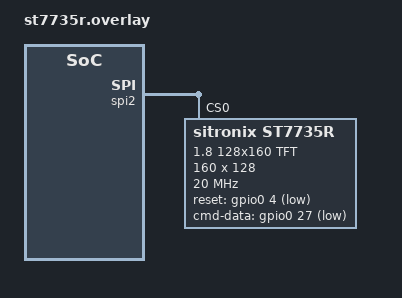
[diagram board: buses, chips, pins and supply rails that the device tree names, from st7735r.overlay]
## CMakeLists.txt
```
# SPDX-License-Identifier: MIT

cmake_minimum_required(VERSION 3.20.0)

find_package(Zephyr REQUIRED HINTS $ENV{ZEPHYR_BASE})
project(home_mesh)

FILE(GLOB app_sources 
  src/main.c
  src/bt_le.c
  src/setting.c
  src/sys_handler.c)

target_sources(app PRIVATE ${app_sources})
```

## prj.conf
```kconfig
CONFIG_SYSTEM_WORKQUEUE_STACK_SIZE=1024

# bt
CONFIG_BT=y
CONFIG_BT_SMP=y
CONFIG_BT_SIGNING=y
CONFIG_BT_PERIPHERAL=y


# logging
CONFIG_LOG=y
#CONFIG_LOG_MODE_MINIMAL=y
CONFIG_LOG_DEFAULT_LEVEL=4

CONFIG_BT_DEBUG_LOG=y
```

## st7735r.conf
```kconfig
# display
CONFIG_DISPLAY=y
CONFIG_SPI=y
CONFIG_ST7735R=y
```

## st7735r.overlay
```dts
/*
 * SPDX-License-Identifier: MIT
 */

/ {
  chosen {
    zephyr,display = &st7735r;
  };
};

&spi2 {
	status = "okay";

	st7735r: st7735r@0 {
		compatible = "sitronix,st7735r";
		label = "1.8 128x160 TFT";
		spi-max-frequency = <20000000>;
		reg = <0>;
		reset-gpios = <&gpio0 4 GPIO_ACTIVE_LOW>;
		cmd-data-gpios = <&gpio0 27 GPIO_ACTIVE_LOW>;
		width = <160>;
		height = <128>;
		x-offset = <0>;
		y-offset = <0>;
		madctl = <0x60>;
		colmod = <0x55>;
		vmctr1 = <0x0e>;
		pwctr1 = [a2 02 84];
		pwctr2 = [c5];
		pwctr3 = [0a 00];
		pwctr4 = [8a 2a];
		pwctr5 = [8a ee];
		frmctr1 = [01 2c 2d];
		frmctr2 = [01 2c 2d];
		frmctr3 = [01 2c 2d 01 2c 2d];		
		gamctrp1 = [02 1c 07 12 37 32 29 2d 29 25 2b 39 00 01 03 10];
		gamctrn1 = [03 1d 07 06 2e 2c 29 2d 2e 2e 37 3f 00 00 02 10];
	};
};
```

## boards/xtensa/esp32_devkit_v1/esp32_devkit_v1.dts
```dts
/*
 * Copyright (c) 2019 Intel Corporation.
 *
 * SPDX-License-Identifier: Apache-2.0
 */
/dts-v1/;

#include <espressif/esp32.dtsi>

/ {
	model = "esp32_devkit_v1";
	compatible = "espressif,esp32";

	aliases {
		led0 = &blue_led;
		uart-0 = &uart0;
		i2c-0 = &i2c0;
	};

	chosen {
		zephyr,sram = &sram0;
		zephyr,console = &uart0;
		zephyr,shell-uart = &uart0;
		zephyr,flash = &flash0;
	};

	leds {
		compatible = "gpio-leds";

		blue_led: led_0 {
			gpios = <&gpio0 2 GPIO_ACTIVE_HIGH>;
			label = "Blue - LED0";
		};
	};
};

&cpu0 {
	clock-frequency = <ESP32_CLK_CPU_240M>;
};

&cpu1 {
	clock-frequency = <ESP32_CLK_CPU_240M>;
};

&uart0 {
	status = "okay";
	current-speed = <115200>;
	tx-pin = <1>;
	rx-pin = <3>;
};

&uart2 {
	current-speed = <115200>;
	tx-pin = <17>;
	rx-pin = <16>;
};

&gpio0 {
	status = "okay";
};

&gpio1 {
	status = "okay";
};

&i2c0 {
	status = "okay";
	clock-frequency = <I2C_BITRATE_STANDARD>;
	sda-pin = <21>;
	scl-pin = <22>;
};

&spi2 {
	#address-cells = <1>;
	#size-cells = <0>;
	miso-pin = <12>;
	mosi-pin = <13>;
	sclk-pin = <14>;
	csel-pin = <15>;
};

&spi3 {
	#address-cells = <1>;
	#size-cells = <0>;
	miso-pin = <19>;
	mosi-pin = <23>;
	sclk-pin = <18>;
	csel-pin = <5>;
};

&timer0 {
	status = "okay";
};

&timer1 {
	status = "okay";
};

&timer2 {
	status = "okay";
};

&timer3 {
	status = "okay";
};

&trng0 {
	status = "okay";
};

&flash0 {
	status = "okay";
	partitions {
		compatible = "fixed-partitions";
		#address-cells = <1>;
		#size-cells = <1>;

		/* Reserve 60kB for the bootloader */
		boot_partition: partition@1000 {
			label = "mcuboot";
			reg = <0x00001000 0x0000F000>;
			read-only;
		};

		/* Reserve 1024kB for the application in slot 0 */
		slot0_partition: partition@10000 {
			label = "image-0";
			reg = <0x00010000 0x00100000>;
		};

		/* Reserve 1024kB for the application in slot 1 */
		slot1_partition: partition@110000 {
			label = "image-1";
			reg = <0x00110000 0x00100000>;
		};

		/* Reserve 256kB for the scratch partition */
		scratch_partition: partition@210000 {
			   label = "image-scratch";
			   reg = <0x00210000 0x00040000>;
		};

		storage_partition: partition@250000 {
			label = "storage";
			reg = <0x00250000 0x00006000>;
		};
	};
};
```

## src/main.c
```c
/*
 * SPDX-Licence-Identifier: MIT
 */

#include <zephyr.h>
#include <sys/printk.h>
#include <drivers/gpio.h>

#include <logging/log.h>
LOG_MODULE_REGISTER(home_mesh, CONFIG_LOG_DEFAULT_LEVEL);


#include "sys_handler.h"
#include "bt_le.h"
#include "display_test.h"


void main(void) {
  LOG_DBG("Home Mesh");


  le_init();


  while (1) {
    sys_evt_handler();
    k_yield();
  }
}
```

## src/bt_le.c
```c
/*
 * SPDX-Licence-Identifier: MIT
 */

#include "bt_le.h"

#include <zephyr.h>

#include <bluetooth/bluetooth.h>
#include <bluetooth/hci.h>
#include <bluetooth/conn.h>
#include <bluetooth/uuid.h>
#include <bluetooth/gatt.h>

#include <logging/log.h>
LOG_MODULE_DECLARE(home_mesh, CONFIG_LOG_DEFAULT_LEVEL);

static ssize_t write_char2(struct bt_conn* conn, const struct bt_gatt_attr* attr, const void* buf, uint16_t len, uint16_t offset, uint8_t flags);
static void char1_ccc_cfg_changed(const struct bt_gatt_attr* attr, uint16_t value); 

#define BT_UUID_HOME_MESH_SERVICE BT_UUID_128_ENCODE(0xf34ed76c, 0xcff0, 0x4c8a, 0xa845, 0xc1d42efd0456)

static struct bt_uuid_128 home_mesh_service_uuid = BT_UUID_INIT_128(BT_UUID_HOME_MESH_SERVICE);
static struct bt_uuid_128 home_mesh_char1_uuid = BT_UUID_INIT_128(
  BT_UUID_128_ENCODE(0xd9c3001, 0x9c01, 0x5f73, 0x7061, 0x63656e6f726d));
static struct bt_uuid_128 home_mesh_char2_uuid = BT_UUID_INIT_128(
  BT_UUID_128_ENCODE(0xd9c3002, 0x9c01, 0x5f73, 0x7061, 0x63656e6f726d));

static uint8_t notify_data[128];
static uint8_t write_data[128];
static uint8_t notify;


BT_GATT_SERVICE_DEFINE(home_svc,
  BT_GATT_PRIMARY_SERVICE(&home_mesh_service_uuid),
  BT_GATT_CHARACTERISTIC(&home_mesh_char1_uuid.uuid,
    BT_GATT_CHRC_NOTIFY,
    BT_GATT_PERM_NONE,
    NULL, NULL, notify_data),
  BT_GATT_CCC(char1_ccc_cfg_changed, BT_GATT_PERM_READ | BT_GATT_PERM_WRITE),
  BT_GATT_CHARACTERISTIC(&home_mesh_char2_uuid.uuid,
    BT_GATT_CHRC_WRITE,
    BT_GATT_PERM_WRITE_ENCRYPT,
    NULL, write_char2, &write_data)
);

static const struct bt_data home_mesh_service_adv[] = {
  BT_DATA_BYTES(BT_DATA_FLAGS, (BT_LE_AD_GENERAL | BT_LE_AD_NO_BREDR)),
  BT_DATA_BYTES(BT_DATA_UUID128_ALL, BT_UUID_HOME_MESH_SERVICE),
};

static ssize_t write_char2(struct bt_conn* conn, const struct bt_gatt_attr* attr, const void* buf, uint16_t len, uint16_t offset, uint8_t flags) {
  LOG_DBG("");

  uint8_t *value = attr->user_data;

  if (offset + len > sizeof(write_data)) {
    return BT_GATT_ERR(BT_ATT_ERR_INVALID_OFFSET);
  }

  memcpy(value + offset, buf, len);
  value[offset + len] = 0;

  return len;
}

static void char1_ccc_cfg_changed(const struct bt_gatt_attr* attr, uint16_t value) {
  LOG_DBG("");
  notify = (value == BT_GATT_CCC_INDICATE) ? 1 : 0;
}

static void le_connected(struct bt_conn* conn, uint8_t err) {
  char addr[BT_ADDR_LE_STR_LEN];

  bt_addr_le_to_str(bt_conn_get_dst(conn), addr, sizeof(addr));

  if (err){
    LOG_DBG("Failed to connect to %s (%u)", addr, err);
  }
  else {
    LOG_DBG("Connected %s", addr);
  }
}

static void le_disconnected(struct bt_conn* conn, uint8_t reason) {
  char addr[BT_ADDR_LE_STR_LEN];

	bt_addr_le_to_str(bt_conn_get_dst(conn), addr, sizeof(addr));

  LOG_DBG("Disconnected from %s (reason 0x%02x)", addr, reason);
}

BT_CONN_CB_DEFINE(conn_callbacks) = {
  .connected = le_connected,
  .disconnected = le_disconnected,
};

int le_init(void) {
  LOG_DBG("Bluetooth initialized");

  int err = bt_enable(NULL);
  if (err) {
    return err;
  }

  err = bt_le_adv_start(BT_LE_ADV_CONN_NAME, home_mesh_service_adv, ARRAY_SIZE(home_mesh_service_adv), NULL, 0);
  if (err) {
    LOG_ERR("Advertising failed to start (err %d)", err);
    return err;
  }

  return 0;
}
```

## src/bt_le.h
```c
/*
 * SPDX-Licence-Identifier: MIT
 */

#ifndef __BT_LE_H__
#define __BT_LE_H__

#ifdef __cplusplus
extern "C" {
#endif

int le_init(void);

#ifdef __cplusplus
}
#endif

#endif  // __BT_LE_H__
```

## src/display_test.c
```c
/*
 * SPDX-License-Identifier: MIT
 */

#include "display_test.h"

#include <zephyr.h>
#include <device.h>
#include <drivers/display.h>

#include <logging/log.h>
LOG_MODULE_DECLARE(home_mesh, CONFIG_LOG_DEFAULT_LEVEL);


enum corner {
	TOP_LEFT,
	TOP_RIGHT,
	BOTTOM_RIGHT,
	BOTTOM_LEFT
};

typedef void (*fill_buffer)(enum corner corner, uint8_t grey, uint8_t *buf,
			    size_t buf_size);


static void fill_buffer_argb8888(enum corner corner, uint8_t grey, uint8_t *buf,
				 size_t buf_size)
{
	uint32_t color = 0;

	switch (corner) {
	case TOP_LEFT:
		color = 0x00FF0000u;
		break;
	case TOP_RIGHT:
		color = 0x0000FF00u;
		break;
	case BOTTOM_RIGHT:
		color = 0x000000FFu;
		break;
	case BOTTOM_LEFT:
		color = grey << 16 | grey << 8 | grey;
		break;
	}

	for (size_t idx = 0; idx < buf_size; idx += 4) {
		*((uint32_t *)(buf + idx)) = color;
	}
}

static void fill_buffer_rgb888(enum corner corner, uint8_t grey, uint8_t *buf,
			       size_t buf_size)
{
	uint32_t color = 0;

	switch (corner) {
	case TOP_LEFT:
		color = 0x00FF0000u;
		break;
	case TOP_RIGHT:
		color = 0x0000FF00u;
		break;
	case BOTTOM_RIGHT:
		color = 0x000000FFu;
		break;
	case BOTTOM_LEFT:
		color = grey << 16 | grey << 8 | grey;
		break;
	}

	for (size_t idx = 0; idx < buf_size; idx += 3) {
		*(buf + idx + 0) = color >> 16;
		*(buf + idx + 1) = color >> 8;
		*(buf + idx + 2) = color >> 0;
	}
}

static uint16_t get_rgb565_color(enum corner corner, uint8_t grey)
{
	uint16_t color = 0;
	uint16_t grey_5bit;

	switch (corner) {
	case TOP_LEFT:
		color = 0xF800u;
		break;
	case TOP_RIGHT:
		color = 0x07E0u;
		break;
	case BOTTOM_RIGHT:
		color = 0x001Fu;
		break;
	case BOTTOM_LEFT:
		grey_5bit = grey & 0x1Fu;
		/* shift the green an extra bit, it has 6 bits */
		color = grey_5bit << 11 | grey_5bit << (5 + 1) | grey_5bit;
		break;
	}
	return color;
}

static void fill_buffer_rgb565(enum corner corner, uint8_t grey, uint8_t *buf,
			       size_t buf_size)
{
	uint16_t color = get_rgb565_color(corner, grey);

	for (size_t idx = 0; idx < buf_size; idx += 2) {
		*(buf + idx + 0) = (color >> 8) & 0xFFu;
		*(buf + idx + 1) = (color >> 0) & 0xFFu;
	}
}

static void fill_buffer_bgr565(enum corner corner, uint8_t grey, uint8_t *buf,
			       size_t buf_size)
{
	uint16_t color = get_rgb565_color(corner, grey);

	for (size_t idx = 0; idx < buf_size; idx += 2) {
		*(uint16_t *)(buf + idx) = color;
	}
}

static void fill_buffer_mono(enum corner corner, uint8_t grey, uint8_t *buf,
			     size_t buf_size)
{
	uint16_t color;

	switch (corner) {
	case BOTTOM_LEFT:
		color = (grey & 0x01u) ? 0xFFu : 0x00u;
		break;
	default:
		color = 0;
		break;
	}

	memset(buf, color, buf_size);
}


void display_test(void) {
	size_t x;
	size_t y;
	size_t rect_w;
	size_t rect_h;
	size_t h_step;
	size_t scale;
	size_t grey_count;
	uint8_t *buf;
	int32_t grey_scale_sleep;  
  struct display_capabilities capabilities;
	struct display_buffer_descriptor buf_desc;
	size_t buf_size = 0;
	fill_buffer fill_buffer_fnc = NULL;

  const struct device* display_dev = DEVICE_DT_GET(DT_CHOSEN(zephyr_display));
  if (!device_is_ready(display_dev)) {
    LOG_ERR("Device %s not found. Aborting test", display_dev->name);
    return;
  }

  LOG_INF("Display test for %s", display_dev->name);
  display_get_capabilities(display_dev, &capabilities);

	if (capabilities.screen_info & SCREEN_INFO_MONO_VTILED) {
		rect_w = 16;
		rect_h = 8;
	} else {
		rect_w = 2;
		rect_h = 1;
	}

	h_step = rect_h;
	scale = (capabilities.x_resolution / 8) / rect_h;

	rect_w *= scale;
	rect_h *= scale;

	if (capabilities.screen_info & SCREEN_INFO_EPD) {
		grey_scale_sleep = 10000;
	} else {
		grey_scale_sleep = 100;
	}

	buf_size = rect_w * rect_h;

	if (buf_size < (capabilities.x_resolution * h_step)) {
		buf_size = capabilities.x_resolution * h_step;
	}

	switch (capabilities.current_pixel_format) {
	case PIXEL_FORMAT_ARGB_8888:
		fill_buffer_fnc = fill_buffer_argb8888;
		buf_size *= 4;
		break;
	case PIXEL_FORMAT_RGB_888:
		fill_buffer_fnc = fill_buffer_rgb888;
		buf_size *= 3;
		break;
	case PIXEL_FORMAT_RGB_565:
		fill_buffer_fnc = fill_buffer_rgb565;
		buf_size *= 2;
		break;
	case PIXEL_FORMAT_BGR_565:
		fill_buffer_fnc = fill_buffer_bgr565;
		buf_size *= 2;
		break;
	case PIXEL_FORMAT_MONO01:
	case PIXEL_FORMAT_MONO10:
		fill_buffer_fnc = fill_buffer_mono;
		buf_size /= 8;
		break;
	default:
		LOG_ERR("Unsupported pixel format. Aborting sample.");
		return;
	}

	buf = k_malloc(buf_size);

	if (buf == NULL) {
		LOG_ERR("Could not allocate memory. Aborting sample.");
		return;
	}

	(void)memset(buf, 0xFFu, buf_size);

	buf_desc.buf_size = buf_size;
	buf_desc.pitch = capabilities.x_resolution;
	buf_desc.width = capabilities.x_resolution;
	buf_desc.height = h_step;

	for (int idx = 0; idx < capabilities.y_resolution; idx += h_step) {
		display_write(display_dev, 0, idx, &buf_desc, buf);
	}

	buf_desc.pitch = rect_w;
	buf_desc.width = rect_w;
	buf_desc.height = rect_h;

	fill_buffer_fnc(TOP_LEFT, 0, buf, buf_size);
	x = 0;
	y = 0;
	display_write(display_dev, x, y, &buf_desc, buf);
#if 0
	fill_buffer_fnc(TOP_RIGHT, 0, buf, buf_size);
	x = capabilities.x_resolution - rect_w;
	y = 0;
	display_write(display_dev, x, y, &buf_desc, buf);

	fill_buffer_fnc(BOTTOM_RIGHT, 0, buf, buf_size);
	x = capabilities.x_resolution - rect_w;
	y = capabilities.y_resolution - rect_h;
	display_write(display_dev, x, y, &buf_desc, buf);

	display_blanking_off(display_dev);

	grey_count = 0;
	x = 0;
	y = capabilities.y_resolution - rect_h;

  while (1) {
		fill_buffer_fnc(BOTTOM_LEFT, grey_count, buf, buf_size);
		display_write(display_dev, x, y, &buf_desc, buf);
		++grey_count;
		k_msleep(grey_scale_sleep);

		if (grey_count >= 1024) {
			break;
		}
	}

#endif
}
```

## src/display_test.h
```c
/*
 * SPDX-License-Identifier: MIT
 */

#ifndef __DISPLAY_H__
#define __DISPLAY_H__

#ifdef __cplusplus
extern "C" {
#endif




void display_test(void);



#ifdef __cplusplus
}
#endif

#endif // __DISPLAY_H__
```

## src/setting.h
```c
/*
 * SPDX-Licence-Identifier: MIT
 */
```

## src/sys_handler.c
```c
/*
 * SPDX-Licence-Identifier: MIT
 */

#include "sys_handler.h"

#include <logging/log.h>
LOG_MODULE_DECLARE(home_mesh, CONFIG_LOG_DEFAULT_LEVEL);


K_MSGQ_DEFINE(sys_evt_queue, sizeof(EventMsg), 10, 4);


void sys_evt_handler(void) {
  LOG_DBG("");

  EventMsg evt_msg;

  if (k_msgq_get(&sys_evt_queue, &evt_msg, K_FOREVER) == 0) {

  }
}

void put_sys_evt_msg(const EventID id, uint32_t* msg) {
  EventMsg evt_msg = {
    .id = id,
    .ptr_msg = msg,
  };

  while (k_msgq_put(&sys_evt_queue, &evt_msg, K_NO_WAIT) != 0) {
    /* message queue is full: purge old data & try again */
    k_msgq_purge(&sys_evt_queue);
  }
}
```

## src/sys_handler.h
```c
/*
 * SPDX-Licence-Identifier: MIT
 */
#ifndef __SYS_HANDLER_H__
#define __SYS_HANDLER_H__

#include <zephyr.h>

#ifdef __cplusplus
extern "C" {
#endif

typedef enum {

  EVT_BT_CONNECTED = 0x10,
  EVT_BT_DISCONNECTED = 0x11,


} EventID;

typedef struct {
  EventID   id;
  uint32_t* ptr_msg;
} __attribute__((aligned(4))) EventMsg;


void put_sys_evt_msg(const EventID id, uint32_t* msg);
void sys_evt_handler(void);

#ifdef __cplusplus
}
#endif


#endif // __SYS_HANDLER_H__
```
